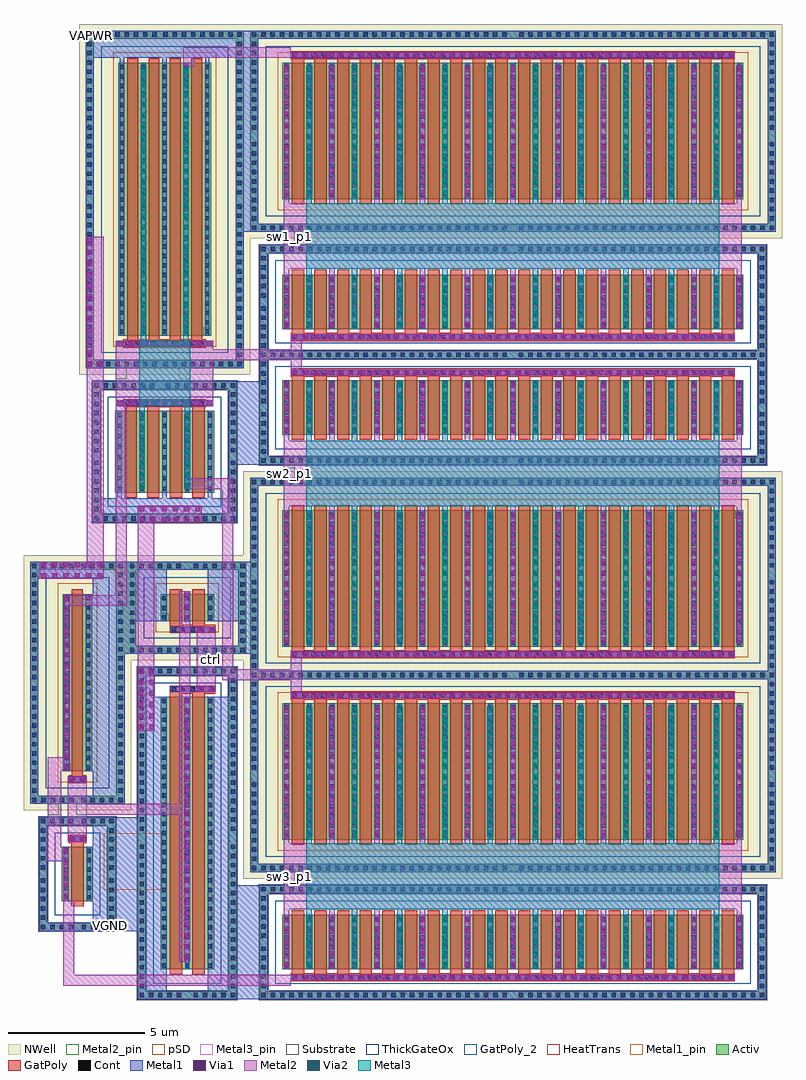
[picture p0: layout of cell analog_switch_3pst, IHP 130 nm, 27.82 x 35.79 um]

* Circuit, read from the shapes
.subckt analog_switch_3pst VAPWR VGND ctrl sw1_p1 sw1_p2 sw2_p1 sw2_p2 sw3_p1 sw3_p2
XM1 VGND lvl_shift_up_3/hv_inverter_6u5_0/in hv_inverter_40u_4/in VGND sg13_hv_nmos w=2u l=0.45u
XM2 transmission_gate_0/nvctrl hv_inverter_40u_4/in VGND VGND sg13_hv_nmos w=3u l=0.45u m=4
XM3 lvl_shift_up_3/hv_inverter_6u5_0/in ctrl VGND VGND sg13_hv_nmos w=10u l=0.45u m=2
XM4 sw3_p2 hv_inverter_40u_4/in sw3_p1 VGND sg13_hv_nmos w=2u l=0.45u m=20
XM5 sw2_p2 hv_inverter_40u_4/in sw2_p1 VGND sg13_hv_nmos w=2u l=0.45u m=20
XM6 sw1_p2 hv_inverter_40u_4/in sw1_p1 VGND sg13_hv_nmos w=2u l=0.45u m=20
XM7 VAPWR lvl_shift_up_3/hv_inverter_6u5_0/in hv_inverter_40u_4/in VAPWR sg13_hv_pmos w=6.5u l=0.4u
XM8 transmission_gate_0/nvctrl hv_inverter_40u_4/in VAPWR VAPWR sg13_hv_pmos w=10u l=0.4u m=4
XM9 lvl_shift_up_3/hv_inverter_6u5_0/in ctrl VAPWR VAPWR sg13_hv_pmos w=1u l=0.45u m=2
XM10 sw3_p2 transmission_gate_0/nvctrl sw3_p1 VAPWR sg13_hv_pmos w=5u l=0.45u m=20
XM11 sw2_p2 transmission_gate_0/nvctrl sw2_p1 VAPWR sg13_hv_pmos w=5u l=0.45u m=20
XM12 sw1_p2 transmission_gate_0/nvctrl sw1_p1 VAPWR sg13_hv_pmos w=5u l=0.45u m=20
.ends

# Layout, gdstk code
from math import pi, radians
import gdstk
lib = gdstk.Library(unit=1e-6, precision=1e-09)
def R(c, l, rs):  # rectangles x0, y0, x1, y1
    for r in rs: c.add(gdstk.rectangle(r[:2], r[2:], *l))
def A(c, l, x, y, w, h, nx, ny, dx, dy):  # array of equal rectangles
    R(c, l, [(x+i*dx, y+j*dy, x+i*dx+w, y+j*dy+h) for i in range(nx) for j in range(ny)])
def P(c, l, *ps):  # polygons
    for p in ps: c.add(gdstk.Polygon(p, *l))
Activ = (1, 0)
GatPoly = (5, 0)
GatPoly_2 = (5, 2)
Cont = (6, 0)
Metal1 = (8, 0)
Metal1_pin = (8, 2)
Metal2 = (10, 0)
Metal2_pin = (10, 2)
pSD = (14, 0)
Via1 = (19, 0)
Via2 = (29, 0)
Metal3 = (30, 0)
Metal3_pin = (30, 2)
NWell = (31, 0)
Substrate = (40, 0)
ThickGateOx = (44, 0)
HeatTrans = (51, 0)

nmoshv_3 = lib.new_cell('nmosHV$3')
A(nmoshv_3, Activ, 0, 0, 0.3, 0.3, 21, 1, 0.83, 0)
R(nmoshv_3, Activ, [(-0.84,-0.79,-0.54,2.79), (17.44,-0.79,17.74,2.79), (0,0,16.9,2), (-0.84,2.79,17.74,3.09)])
P(nmoshv_3, Activ, [(-0.84,-1.09),(-0.84,2.79),(-0.54,2.79),(-0.54,-0.79),(17.44,-0.79),(17.44,2.79),(-0.84,2.79),(-0.84,3.09),(17.74,3.09),(17.74,-1.09)])
A(nmoshv_3, GatPoly, 0.34, -0.18, 0.45, 2.36, 20, 1, 0.83, 0)
R(nmoshv_3, GatPoly_2, [(0.34,-0.18,0.79,2.18)])
A(nmoshv_3, Cont, -0.77, -1.02, 0.16, 0.16, 27, 2, 0.34, 3.88)
A(nmoshv_3, Cont, 8.67, -1.02, 0.16, 0.16, 27, 2, 0.34, 3.88)
A(nmoshv_3, Cont, -0.77, -0.68, 0.16, 0.16, 1, 5, 0, 0.34)
A(nmoshv_3, Cont, 17.51, -0.68, 0.16, 0.16, 1, 5, 0, 0.34)
A(nmoshv_3, Cont, 0.07, 0.07, 0.16, 0.16, 21, 6, 0.83, 0.34)
A(nmoshv_3, Cont, -0.77, 1.16, 0.16, 0.16, 1, 5, 0, 0.34)
A(nmoshv_3, Cont, 17.51, 1.16, 0.16, 0.16, 1, 5, 0, 0.34)
A(nmoshv_3, Metal1, 0.07, 0, 0.16, 2, 21, 1, 0.83, 0)
R(nmoshv_3, Metal1, [(-0.84,-1.09,17.74,-0.79), (-0.84,-0.79,-0.54,2.79), (17.44,-0.79,17.74,2.79), (-0.84,2.79,17.74,3.09)])
R(nmoshv_3, Metal1_pin, [(0.07,0,0.23,2), (0.9,0,1.06,2)])
R(nmoshv_3, pSD, [(-0.87,-0.76,-0.51,2.76), (17.41,-0.76,17.77,2.76), (-0.87,2.76,17.77,3.12)])
P(nmoshv_3, pSD, [(-0.87,-1.12),(-0.87,2.76),(-0.51,2.76),(-0.51,-0.76),(17.41,-0.76),(17.41,2.76),(-0.87,2.76),(-0.87,3.12),(17.77,3.12),(17.77,-1.12)])
R(nmoshv_3, Substrate, [(-0.87,-0.76,-0.51,2.76), (17.41,-0.76,17.77,2.76), (-0.87,2.76,17.77,3.12)])
P(nmoshv_3, Substrate, [(-0.87,-1.12),(-0.87,2.76),(-0.51,2.76),(-0.51,-0.76),(17.41,-0.76),(17.41,2.76),(-0.87,2.76),(-0.87,3.12),(17.77,3.12),(17.77,-1.12)])
R(nmoshv_3, ThickGateOx, [(-0.27,-0.52,17.17,2.52)])
A(nmoshv_3, HeatTrans, 0.34, -0.18, 0.45, 2.36, 20, 1, 0.83, 0)
nmoshv_3.add(gdstk.Label('nmosHV', (0.565,1), layer=63, texttype=0))
nmoshv_3.add(gdstk.Label('sub!', (8.45,-0.94), layer=63, texttype=0))
nmoshv_3.add(gdstk.Label('nmosHV', (0.565,1), layer=51, texttype=0))
nmoshv_3.add(gdstk.Label('nmosHV', (1.395,1), layer=51, texttype=0))
nmoshv_3.add(gdstk.Label('nmosHV', (2.225,1), layer=51, texttype=0))
nmoshv_3.add(gdstk.Label('nmosHV', (3.055,1), layer=51, texttype=0))
nmoshv_3.add(gdstk.Label('nmosHV', (3.885,1), layer=51, texttype=0))
nmoshv_3.add(gdstk.Label('nmosHV', (4.715,1), layer=51, texttype=0))
nmoshv_3.add(gdstk.Label('nmosHV', (5.545,1), layer=51, texttype=0))
nmoshv_3.add(gdstk.Label('nmosHV', (6.375,1), layer=51, texttype=0))
nmoshv_3.add(gdstk.Label('nmosHV', (7.205,1), layer=51, texttype=0))
nmoshv_3.add(gdstk.Label('nmosHV', (8.035,1), layer=51, texttype=0))
nmoshv_3.add(gdstk.Label('nmosHV', (8.865,1), layer=51, texttype=0))
nmoshv_3.add(gdstk.Label('nmosHV', (9.695,1), layer=51, texttype=0))
nmoshv_3.add(gdstk.Label('nmosHV', (10.525,1), layer=51, texttype=0))
nmoshv_3.add(gdstk.Label('nmosHV', (11.355,1), layer=51, texttype=0))
nmoshv_3.add(gdstk.Label('nmosHV', (12.185,1), layer=51, texttype=0))
nmoshv_3.add(gdstk.Label('nmosHV', (13.015,1), layer=51, texttype=0))
nmoshv_3.add(gdstk.Label('nmosHV', (13.845,1), layer=51, texttype=0))
nmoshv_3.add(gdstk.Label('nmosHV', (14.675,1), layer=51, texttype=0))
nmoshv_3.add(gdstk.Label('nmosHV', (15.505,1), layer=51, texttype=0))
nmoshv_3.add(gdstk.Label('nmosHV', (16.335,1), layer=51, texttype=0))

pmoshv_3 = lib.new_cell('pmosHV$3')
A(pmoshv_3, Activ, 0, 0, 0.3, 0.3, 21, 1, 0.83, 0)
R(pmoshv_3, Activ, [(-1.19,-0.89,-0.89,5.89), (17.79,-0.89,18.09,5.89), (0,0,16.9,5), (-1.19,5.89,18.09,6.19)])
P(pmoshv_3, Activ, [(-1.19,-1.19),(-1.19,5.89),(-0.89,5.89),(-0.89,-0.89),(17.79,-0.89),(17.79,5.89),(-1.19,5.89),(-1.19,6.19),(18.09,6.19),(18.09,-1.19)])
A(pmoshv_3, GatPoly, 0.34, -0.18, 0.45, 5.36, 20, 1, 0.83, 0)
R(pmoshv_3, GatPoly_2, [(0.34,-0.18,0.79,5.18)])
A(pmoshv_3, Cont, -1.12, -1.12, 0.16, 0.16, 28, 2, 0.34, 7.08)
A(pmoshv_3, Cont, 8.68, -1.12, 0.16, 0.16, 28, 2, 0.34, 7.08)
A(pmoshv_3, Cont, -1.12, -0.78, 0.16, 0.16, 1, 9, 0, 0.34)
A(pmoshv_3, Cont, 17.86, -0.78, 0.16, 0.16, 1, 9, 0, 0.34)
A(pmoshv_3, Cont, 0.07, 0.07, 0.16, 0.16, 21, 4, 0.83, 0.36)
A(pmoshv_3, Cont, 0.07, 1.515, 0.16, 0.16, 21, 3, 0.83, 0.36)
A(pmoshv_3, Cont, -1.12, 2.56, 0.16, 0.16, 1, 10, 0, 0.34)
A(pmoshv_3, Cont, 17.86, 2.56, 0.16, 0.16, 1, 10, 0, 0.34)
A(pmoshv_3, Cont, 0.07, 2.6, 0.16, 0.16, 21, 3, 0.83, 0.36)
A(pmoshv_3, Cont, 0.07, 3.685, 0.16, 0.16, 21, 3, 0.83, 0.36)
A(pmoshv_3, Cont, 0.07, 4.77, 0.16, 0.16, 21, 1, 0.83, 0)
A(pmoshv_3, Metal1, 0.07, 0, 0.16, 5, 21, 1, 0.83, 0)
R(pmoshv_3, Metal1, [(-1.19,-1.19,18.09,-0.89), (-1.19,-0.89,-0.89,5.89), (17.79,-0.89,18.09,5.89), (-1.19,5.89,18.09,6.19)])
R(pmoshv_3, Metal1_pin, [(0.07,0,0.23,5), (0.9,0,1.06,5)])
R(pmoshv_3, pSD, [(-0.18,-0.4,17.08,5.4)])
R(pmoshv_3, NWell, [(-1.43,-1.43,18.33,6.43), (-0.62,-0.62,17.52,5.62)])
R(pmoshv_3, Substrate, [(16.6,0,16.9,0.3)])
R(pmoshv_3, ThickGateOx, [(-0.62,-0.62,17.52,5.62)])
A(pmoshv_3, HeatTrans, 0.34, -0.18, 0.45, 5.36, 20, 1, 0.83, 0)
pmoshv_3.add(gdstk.Label('pmosHV', (0.565,2.5), layer=63, texttype=0))
pmoshv_3.add(gdstk.Label('well', (8.45,-1.04), layer=63, texttype=0))
pmoshv_3.add(gdstk.Label('pmos', (0.565,2.5), layer=51, texttype=0))
pmoshv_3.add(gdstk.Label('pmos', (1.395,2.5), layer=51, texttype=0))
pmoshv_3.add(gdstk.Label('pmos', (2.225,2.5), layer=51, texttype=0))
pmoshv_3.add(gdstk.Label('pmos', (3.055,2.5), layer=51, texttype=0))
pmoshv_3.add(gdstk.Label('pmos', (3.885,2.5), layer=51, texttype=0))
pmoshv_3.add(gdstk.Label('pmos', (4.715,2.5), layer=51, texttype=0))
pmoshv_3.add(gdstk.Label('pmos', (5.545,2.5), layer=51, texttype=0))
pmoshv_3.add(gdstk.Label('pmos', (6.375,2.5), layer=51, texttype=0))
pmoshv_3.add(gdstk.Label('pmos', (7.205,2.5), layer=51, texttype=0))
pmoshv_3.add(gdstk.Label('pmos', (8.035,2.5), layer=51, texttype=0))
pmoshv_3.add(gdstk.Label('pmos', (8.865,2.5), layer=51, texttype=0))
pmoshv_3.add(gdstk.Label('pmos', (9.695,2.5), layer=51, texttype=0))
pmoshv_3.add(gdstk.Label('pmos', (10.525,2.5), layer=51, texttype=0))
pmoshv_3.add(gdstk.Label('pmos', (11.355,2.5), layer=51, texttype=0))
pmoshv_3.add(gdstk.Label('pmos', (12.185,2.5), layer=51, texttype=0))
pmoshv_3.add(gdstk.Label('pmos', (13.015,2.5), layer=51, texttype=0))
pmoshv_3.add(gdstk.Label('pmos', (13.845,2.5), layer=51, texttype=0))
pmoshv_3.add(gdstk.Label('pmos', (14.675,2.5), layer=51, texttype=0))
pmoshv_3.add(gdstk.Label('pmos', (15.505,2.5), layer=51, texttype=0))
pmoshv_3.add(gdstk.Label('pmos', (16.335,2.5), layer=51, texttype=0))

via_stack_3_1 = lib.new_cell('via_stack$3$1')
R(via_stack_3_1, Metal1, [(-0.965,-0.105,0.965,0.105)])
R(via_stack_3_1, Metal2, [(-0.965,-0.1,0.965,0.1)])
A(via_stack_3_1, Via1, -0.915, -0.095, 0.19, 0.19, 5, 1, 0.41, 0)
A(via_stack_3_1, Via2, -0.915, -0.095, 0.19, 0.19, 5, 1, 0.41, 0)
R(via_stack_3_1, Metal3, [(-0.965,-0.1,0.965,0.1)])

via_stack_2_1 = lib.new_cell('via_stack$2$1')
R(via_stack_2_1, Metal1, [(-0.965,-0.105,0.965,0.105)])
R(via_stack_2_1, Metal2, [(-0.965,-0.1,0.965,0.1)])
A(via_stack_2_1, Via1, -0.915, -0.095, 0.19, 0.19, 5, 1, 0.41, 0)

via_stack_1 = lib.new_cell('via_stack$1')
R(via_stack_1, Metal1, [(-2.4,-0.105,2.4,0.105)])
R(via_stack_1, Metal2, [(-2.4,-0.1,2.4,0.1)])
A(via_stack_1, Via1, -2.35, -0.095, 0.19, 0.19, 12, 1, 0.41, 0)
A(via_stack_1, Via2, -2.35, -0.095, 0.19, 0.19, 12, 1, 0.41, 0)
R(via_stack_1, Metal3, [(-2.4,-0.1,2.4,0.1)])

via_stack_12 = lib.new_cell('via_stack$12')
R(via_stack_12, Metal1, [(-2.4,-0.105,2.4,0.105)])
R(via_stack_12, Metal2, [(-2.4,-0.1,2.4,0.1)])
A(via_stack_12, Via1, -2.35, -0.095, 0.19, 0.19, 12, 1, 0.41, 0)

via_stack_8 = lib.new_cell('via_stack$8')
R(via_stack_8, GatPoly, [(-0.15,-8.14,0.15,8.14)])
A(via_stack_8, Cont, -0.08, -8.07, 0.16, 0.16, 1, 48, 0, 0.34)
R(via_stack_8, Metal1, [(-0.08,-8.12,0.08,8.12)])

via_stack_7_1 = lib.new_cell('via_stack$7$1')
R(via_stack_7_1, Metal1, [(-0.105,-8.14,0.105,8.14)])
R(via_stack_7_1, Metal2, [(-0.1,-8.14,0.1,8.14)])
A(via_stack_7_1, Via1, -0.095, -8.09, 0.19, 0.19, 1, 40, 0, 0.41)

transmission_gate = lib.new_cell('transmission_gate')
R(transmission_gate, Metal1_pin, [(0.59,0.03,0.89,0.33), (0.24,11.77,0.54,12.07)])
A(transmission_gate, Metal2, 1.48, 3.085, 0.2, 2.895, 11, 1, 1.66, 0)
R(transmission_gate, Metal2, [(1.48,3.33,18.28,5.74)])
R(transmission_gate, Metal2_pin, [(1.74,0.73,1.94,0.93), (1.48,4.33,1.88,4.73), (1.74,11.065,1.94,11.265)])
A(transmission_gate, Metal3, 2.31, 3.085, 0.2, 2.895, 10, 1, 1.66, 0)
R(transmission_gate, Metal3, [(2.31,3.33,17.45,5.74)])
R(transmission_gate, Metal3_pin, [(2.31,4.33,2.71,4.73)])
transmission_gate.add(gdstk.Reference(nmoshv_3, (1.43,1.12)))
transmission_gate.add(gdstk.Reference(pmoshv_3, (1.43,5.88)))
transmission_gate.add(gdstk.Reference(via_stack_3_1, (2.41,2.12), rotation=pi/2))
transmission_gate.add(gdstk.Reference(via_stack_2_1, (1.58,2.12), rotation=pi/2))
transmission_gate.add(gdstk.Reference(via_stack_1, (2.41,8.38), rotation=pi/2))
transmission_gate.add(gdstk.Reference(via_stack_12, (1.58,8.38), rotation=pi/2))
transmission_gate.add(gdstk.Reference(via_stack_3_1, (4.07,2.12), rotation=pi/2))
transmission_gate.add(gdstk.Reference(via_stack_3_1, (5.73,2.12), rotation=pi/2))
transmission_gate.add(gdstk.Reference(via_stack_3_1, (7.39,2.12), rotation=pi/2))
transmission_gate.add(gdstk.Reference(via_stack_3_1, (9.05,2.12), rotation=pi/2))
transmission_gate.add(gdstk.Reference(via_stack_3_1, (10.71,2.12), rotation=pi/2))
transmission_gate.add(gdstk.Reference(via_stack_3_1, (12.37,2.12), rotation=pi/2))
transmission_gate.add(gdstk.Reference(via_stack_3_1, (14.03,2.12), rotation=pi/2))
transmission_gate.add(gdstk.Reference(via_stack_3_1, (15.69,2.12), rotation=pi/2))
transmission_gate.add(gdstk.Reference(via_stack_3_1, (17.35,2.12), rotation=pi/2))
transmission_gate.add(gdstk.Reference(via_stack_8, (9.88,0.83), rotation=pi/2))
transmission_gate.add(gdstk.Reference(via_stack_2_1, (3.24,2.12), rotation=pi/2))
transmission_gate.add(gdstk.Reference(via_stack_2_1, (4.9,2.12), rotation=pi/2))
transmission_gate.add(gdstk.Reference(via_stack_2_1, (6.56,2.12), rotation=pi/2))
transmission_gate.add(gdstk.Reference(via_stack_2_1, (8.22,2.12), rotation=pi/2))
transmission_gate.add(gdstk.Reference(via_stack_2_1, (9.88,2.12), rotation=pi/2))
transmission_gate.add(gdstk.Reference(via_stack_2_1, (11.54,2.12), rotation=pi/2))
transmission_gate.add(gdstk.Reference(via_stack_2_1, (13.2,2.12), rotation=pi/2))
transmission_gate.add(gdstk.Reference(via_stack_2_1, (14.86,2.12), rotation=pi/2))
transmission_gate.add(gdstk.Reference(via_stack_2_1, (16.52,2.12), rotation=pi/2))
transmission_gate.add(gdstk.Reference(via_stack_2_1, (18.18,2.12), rotation=pi/2))
transmission_gate.add(gdstk.Reference(via_stack_7_1, (9.88,0.83), rotation=pi/2))
transmission_gate.add(gdstk.Reference(via_stack_8, (9.88,11.165), rotation=pi/2))
transmission_gate.add(gdstk.Reference(via_stack_7_1, (9.88,11.165), rotation=pi/2))
transmission_gate.add(gdstk.Reference(via_stack_1, (4.07,8.38), rotation=pi/2))
transmission_gate.add(gdstk.Reference(via_stack_1, (5.73,8.38), rotation=pi/2))
transmission_gate.add(gdstk.Reference(via_stack_1, (7.39,8.38), rotation=pi/2))
transmission_gate.add(gdstk.Reference(via_stack_1, (9.05,8.38), rotation=pi/2))
transmission_gate.add(gdstk.Reference(via_stack_1, (10.71,8.38), rotation=pi/2))
transmission_gate.add(gdstk.Reference(via_stack_1, (12.37,8.38), rotation=pi/2))
transmission_gate.add(gdstk.Reference(via_stack_1, (14.03,8.38), rotation=pi/2))
transmission_gate.add(gdstk.Reference(via_stack_1, (15.69,8.38), rotation=pi/2))
transmission_gate.add(gdstk.Reference(via_stack_1, (17.35,8.38), rotation=pi/2))
transmission_gate.add(gdstk.Reference(via_stack_12, (3.24,8.38), rotation=pi/2))
transmission_gate.add(gdstk.Reference(via_stack_12, (4.9,8.38), rotation=pi/2))
transmission_gate.add(gdstk.Reference(via_stack_12, (6.56,8.38), rotation=pi/2))
transmission_gate.add(gdstk.Reference(via_stack_12, (8.22,8.38), rotation=pi/2))
transmission_gate.add(gdstk.Reference(via_stack_12, (9.88,8.38), rotation=pi/2))
transmission_gate.add(gdstk.Reference(via_stack_12, (11.54,8.38), rotation=pi/2))
transmission_gate.add(gdstk.Reference(via_stack_12, (13.2,8.38), rotation=pi/2))
transmission_gate.add(gdstk.Reference(via_stack_12, (14.86,8.38), rotation=pi/2))
transmission_gate.add(gdstk.Reference(via_stack_12, (16.52,8.38), rotation=pi/2))
transmission_gate.add(gdstk.Reference(via_stack_12, (18.18,8.38), rotation=pi/2))
transmission_gate.add(gdstk.Label('vctrl', (1.84,0.83), layer=10, texttype=25))
transmission_gate.add(gdstk.Label('nvctrl', (1.84,11.165), layer=10, texttype=25))
transmission_gate.add(gdstk.Label('vin', (1.68,4.53), layer=10, texttype=25))
transmission_gate.add(gdstk.Label('VDD', (0.39,11.92), layer=8, texttype=25))
transmission_gate.add(gdstk.Label('VSS', (0.74,0.18), layer=8, texttype=25))
transmission_gate.add(gdstk.Label('vout', (2.51,4.53), layer=30, texttype=25))

pmoshv_1 = lib.new_cell('pmosHV$1')
R(pmoshv_1, Activ, [(-1.19,-0.89,-0.89,7.39), (1.97,-0.89,2.27,7.39), (0,0,0.3,0.3), (0,0,1.08,6.5), (0.78,0,1.08,0.3), (-1.19,7.39,2.27,7.69)])
P(pmoshv_1, Activ, [(-1.19,-1.19),(-1.19,7.39),(-0.89,7.39),(-0.89,-0.89),(1.97,-0.89),(1.97,7.39),(-1.19,7.39),(-1.19,7.69),(2.27,7.69),(2.27,-1.19)])
R(pmoshv_1, GatPoly, [(0.34,-0.18,0.74,6.68)])
R(pmoshv_1, GatPoly_2, [(0.34,-0.18,0.74,6.68)])
A(pmoshv_1, Cont, -1.12, -1.12, 0.16, 0.16, 5, 2, 0.34, 8.58)
A(pmoshv_1, Cont, 0.68, -1.12, 0.16, 0.16, 5, 2, 0.34, 8.58)
A(pmoshv_1, Cont, -1.12, -0.78, 0.16, 0.16, 1, 12, 0, 0.34)
A(pmoshv_1, Cont, 2.04, -0.78, 0.16, 0.16, 1, 12, 0, 0.34)
A(pmoshv_1, Cont, 0.07, 0.41, 0.16, 0.16, 1, 9, 0, 0.345)
A(pmoshv_1, Cont, 0.85, 0.41, 0.16, 0.16, 1, 9, 0, 0.345)
A(pmoshv_1, Cont, -1.12, 3.38, 0.16, 0.16, 1, 12, 0, 0.34)
A(pmoshv_1, Cont, 2.04, 3.38, 0.16, 0.16, 1, 12, 0, 0.34)
A(pmoshv_1, Cont, 0.07, 3.51, 0.16, 0.16, 1, 9, 0, 0.345)
A(pmoshv_1, Cont, 0.85, 3.51, 0.16, 0.16, 1, 9, 0, 0.345)
R(pmoshv_1, Cont, [(0.07,0.07,0.23,0.23), (0.85,0.07,1.01,0.23)])
R(pmoshv_1, Metal1, [(-1.19,-1.19,2.27,-0.89), (-1.19,-0.89,-0.89,7.39), (1.97,-0.89,2.27,7.39), (0.07,0,0.23,6.5), (0.85,0,1.01,6.5), (-1.19,7.39,2.27,7.69)])
R(pmoshv_1, Metal1_pin, [(0.07,0,0.23,6.5), (0.85,0,1.01,6.5)])
R(pmoshv_1, pSD, [(-0.18,-0.4,1.26,6.9)])
R(pmoshv_1, NWell, [(-1.43,-1.43,2.51,7.93), (-0.62,-0.62,1.7,7.12)])
R(pmoshv_1, Substrate, [(0.78,0,1.08,0.3)])
R(pmoshv_1, ThickGateOx, [(-0.62,-0.62,1.7,7.12)])
R(pmoshv_1, HeatTrans, [(0.34,-0.18,0.74,6.68)])
pmoshv_1.add(gdstk.Label('pmosHV', (0.54,3.25), layer=63, texttype=0))
pmoshv_1.add(gdstk.Label('well', (0.54,-1.04), layer=63, texttype=0))
pmoshv_1.add(gdstk.Label('pmos', (0.54,3.25), layer=51, texttype=0))

nmoshv_1 = lib.new_cell('nmosHV$1')
R(nmoshv_1, Activ, [(-0.84,-0.79,-0.54,2.79), (1.67,-0.79,1.97,2.79), (0,0,0.3,0.3), (0,0,1.13,2), (0.83,0,1.13,0.3), (-0.84,2.79,1.97,3.09)])
P(nmoshv_1, Activ, [(-0.84,-1.09),(-0.84,2.79),(-0.54,2.79),(-0.54,-0.79),(1.67,-0.79),(1.67,2.79),(-0.84,2.79),(-0.84,3.09),(1.97,3.09),(1.97,-1.09)])
R(nmoshv_1, GatPoly, [(0.34,-0.18,0.79,2.18)])
R(nmoshv_1, GatPoly_2, [(0.34,-0.18,0.79,2.18)])
A(nmoshv_1, Cont, -0.77, -1.02, 0.16, 0.16, 4, 2, 0.34, 3.88)
A(nmoshv_1, Cont, 0.72, -1.02, 0.16, 0.16, 4, 2, 0.34, 3.88)
A(nmoshv_1, Cont, -0.77, -0.68, 0.16, 0.16, 1, 5, 0, 0.34)
A(nmoshv_1, Cont, 1.74, -0.68, 0.16, 0.16, 1, 5, 0, 0.34)
A(nmoshv_1, Cont, 0.07, 0.07, 0.16, 0.16, 1, 6, 0, 0.34)
A(nmoshv_1, Cont, 0.9, 0.07, 0.16, 0.16, 1, 6, 0, 0.34)
A(nmoshv_1, Cont, -0.77, 1.16, 0.16, 0.16, 1, 5, 0, 0.34)
A(nmoshv_1, Cont, 1.74, 1.16, 0.16, 0.16, 1, 5, 0, 0.34)
R(nmoshv_1, Metal1, [(-0.84,-1.09,1.97,-0.79), (-0.84,-0.79,-0.54,2.79), (1.67,-0.79,1.97,2.79), (0.07,0,0.23,2), (0.9,0,1.06,2), (-0.84,2.79,1.97,3.09)])
R(nmoshv_1, Metal1_pin, [(0.07,0,0.23,2), (0.9,0,1.06,2)])
R(nmoshv_1, pSD, [(-0.87,-0.76,-0.51,2.76), (1.64,-0.76,2,2.76), (-0.87,2.76,2,3.12)])
P(nmoshv_1, pSD, [(-0.87,-1.12),(-0.87,2.76),(-0.51,2.76),(-0.51,-0.76),(1.64,-0.76),(1.64,2.76),(-0.87,2.76),(-0.87,3.12),(2,3.12),(2,-1.12)])
R(nmoshv_1, Substrate, [(-0.87,-0.76,-0.51,2.76), (1.64,-0.76,2,2.76), (-0.87,2.76,2,3.12)])
P(nmoshv_1, Substrate, [(-0.87,-1.12),(-0.87,2.76),(-0.51,2.76),(-0.51,-0.76),(1.64,-0.76),(1.64,2.76),(-0.87,2.76),(-0.87,3.12),(2,3.12),(2,-1.12)])
R(nmoshv_1, ThickGateOx, [(-0.27,-0.52,1.4,2.52)])
R(nmoshv_1, HeatTrans, [(0.34,-0.18,0.79,2.18)])
nmoshv_1.add(gdstk.Label('nmosHV', (0.565,1), layer=63, texttype=0))
nmoshv_1.add(gdstk.Label('sub!', (0.565,-0.94), layer=63, texttype=0))
nmoshv_1.add(gdstk.Label('nmosHV', (0.565,1), layer=51, texttype=0))

via_stack_10 = lib.new_cell('via_stack$10')
R(via_stack_10, GatPoly, [(-0.15,-0.32,0.15,0.32)])
R(via_stack_10, Cont, [(-0.08,-0.25,0.08,-0.09), (-0.08,0.09,0.08,0.25)])
R(via_stack_10, Metal1, [(-0.08,-0.3,0.08,0.3)])

via_stack_4 = lib.new_cell('via_stack$4')
R(via_stack_4, Metal1, [(-0.105,-0.35,0.105,0.35)])
R(via_stack_4, Metal2, [(-0.1,-0.35,0.1,0.35)])
R(via_stack_4, Via1, [(-0.095,-0.3,0.095,-0.11), (-0.095,0.11,0.095,0.3)])

via_stack_3 = lib.new_cell('via_stack$3')
R(via_stack_3, Metal1, [(-0.105,-0.965,0.105,0.965)])
R(via_stack_3, Metal2, [(-0.1,-0.965,0.1,0.965)])
A(via_stack_3, Via1, -0.095, -0.915, 0.19, 0.19, 1, 5, 0, 0.41)

via_stack_13 = lib.new_cell('via_stack$13')
R(via_stack_13, Metal1, [(-0.105,-3.22,0.105,3.22)])
R(via_stack_13, Metal2, [(-0.1,-3.22,0.1,3.22)])
A(via_stack_13, Via1, -0.095, -3.17, 0.19, 0.19, 1, 16, 0, 0.41)

hv_inverter_6u5 = lib.new_cell('hv_inverter_6u5')
R(hv_inverter_6u5, Metal1, [(-1.105,-4.17,-0.57,-0.59), (-0.57,-3.38,-0.495,-1.38), (-1.43,0.49,-0.57,8.77), (-0.57,1.38,-0.47,7.88)])
R(hv_inverter_6u5, Metal1_pin, [(-1.405,-4.47,-1.005,-4.07), (-1.73,8.67,-1.33,9.07)])
R(hv_inverter_6u5, Metal2, [(-0.35,-0.995,0.35,0.995)])
R(hv_inverter_6u5, Metal2_pin, [(-0.35,-0.2,0.05,0.2), (0.69,-0.2,1.09,0.2)])
hv_inverter_6u5.add(gdstk.FlexPath([(0.515,-1.665),(0.84,-1.665),(0.84,1.66),(0.49,1.66)], 0.5, ends="flush", simple_path=True, layer=10, datatype=0))  # Metal2
hv_inverter_6u5.add(gdstk.Reference(pmoshv_1, (-0.54,1.38)))
hv_inverter_6u5.add(gdstk.Reference(nmoshv_1, (-0.565,-3.38)))
hv_inverter_6u5.add(gdstk.Reference(via_stack_10, (0,-1.095), rotation=pi/2))
hv_inverter_6u5.add(gdstk.Reference(via_stack_4, (0,-1.095), rotation=pi/2))
hv_inverter_6u5.add(gdstk.Reference(via_stack_10, (0,1.095), rotation=pi/2))
hv_inverter_6u5.add(gdstk.Reference(via_stack_4, (0,1.095), rotation=pi/2))
hv_inverter_6u5.add(gdstk.Reference(via_stack_3, (0.415,-2.38)))
hv_inverter_6u5.add(gdstk.Reference(via_stack_13, (0.39,4.63)))
hv_inverter_6u5.add(gdstk.Label('in', (-0.15,0), layer=10, texttype=25))
hv_inverter_6u5.add(gdstk.Label('out', (0.89,0), layer=10, texttype=25))
hv_inverter_6u5.add(gdstk.Label('VSS', (-1.205,-4.27), layer=8, texttype=25))
hv_inverter_6u5.add(gdstk.Label('VDD', (-1.53,8.87), layer=8, texttype=25))

nmoshv_2 = lib.new_cell('nmosHV$2')
A(nmoshv_2, Activ, 0, 0, 0.3, 0.3, 3, 1, 0.83, 0)
R(nmoshv_2, Activ, [(-0.84,-0.79,-0.54,10.79), (2.5,-0.79,2.8,10.79), (0,0,1.96,10), (-0.84,10.79,2.8,11.09)])
P(nmoshv_2, Activ, [(-0.84,-1.09),(-0.84,10.79),(-0.54,10.79),(-0.54,-0.79),(2.5,-0.79),(2.5,10.79),(-0.84,10.79),(-0.84,11.09),(2.8,11.09),(2.8,-1.09)])
R(nmoshv_2, GatPoly, [(0.34,-0.18,0.79,10.18), (1.17,-0.18,1.62,10.18)])
R(nmoshv_2, GatPoly_2, [(0.34,-0.18,0.79,10.18)])
A(nmoshv_2, Cont, -0.77, -1.02, 0.16, 0.16, 5, 2, 0.34, 11.88)
A(nmoshv_2, Cont, 1.21, -1.02, 0.16, 0.16, 5, 2, 0.34, 11.88)
A(nmoshv_2, Cont, -0.77, -0.68, 0.16, 0.16, 1, 16, 0, 0.34)
A(nmoshv_2, Cont, 2.57, -0.68, 0.16, 0.16, 1, 16, 0, 0.34)
A(nmoshv_2, Cont, 0.07, 0.07, 0.16, 0.16, 3, 4, 0.83, 0.345)
A(nmoshv_2, Cont, 0.07, 1.455, 0.16, 0.16, 3, 3, 0.83, 0.345)
A(nmoshv_2, Cont, 0.07, 2.495, 0.16, 0.16, 3, 4, 0.83, 0.345)
A(nmoshv_2, Cont, 0.07, 3.88, 0.16, 0.16, 3, 3, 0.83, 0.345)
A(nmoshv_2, Cont, 0.07, 4.92, 0.16, 0.16, 3, 4, 0.83, 0.345)
A(nmoshv_2, Cont, -0.77, 5.08, 0.16, 0.16, 1, 17, 0, 0.34)
A(nmoshv_2, Cont, 2.57, 5.08, 0.16, 0.16, 1, 17, 0, 0.34)
A(nmoshv_2, Cont, 0.07, 6.305, 0.16, 0.16, 3, 3, 0.83, 0.345)
A(nmoshv_2, Cont, 0.07, 7.345, 0.16, 0.16, 3, 4, 0.83, 0.345)
A(nmoshv_2, Cont, 0.07, 8.73, 0.16, 0.16, 3, 3, 0.83, 0.345)
A(nmoshv_2, Cont, 0.07, 9.77, 0.16, 0.16, 3, 1, 0.83, 0)
A(nmoshv_2, Metal1, 0.07, 0, 0.16, 10, 3, 1, 0.83, 0)
R(nmoshv_2, Metal1, [(-0.84,-1.09,2.8,-0.79), (-0.84,-0.79,-0.54,10.79), (2.5,-0.79,2.8,10.79), (-0.84,10.79,2.8,11.09)])
R(nmoshv_2, Metal1_pin, [(0.07,0,0.23,10), (0.9,0,1.06,10)])
R(nmoshv_2, pSD, [(-0.87,-0.76,-0.51,10.76), (2.47,-0.76,2.83,10.76), (-0.87,10.76,2.83,11.12)])
P(nmoshv_2, pSD, [(-0.87,-1.12),(-0.87,10.76),(-0.51,10.76),(-0.51,-0.76),(2.47,-0.76),(2.47,10.76),(-0.87,10.76),(-0.87,11.12),(2.83,11.12),(2.83,-1.12)])
R(nmoshv_2, Substrate, [(-0.87,-0.76,-0.51,10.76), (2.47,-0.76,2.83,10.76), (-0.87,10.76,2.83,11.12)])
P(nmoshv_2, Substrate, [(-0.87,-1.12),(-0.87,10.76),(-0.51,10.76),(-0.51,-0.76),(2.47,-0.76),(2.47,10.76),(-0.87,10.76),(-0.87,11.12),(2.83,11.12),(2.83,-1.12)])
R(nmoshv_2, ThickGateOx, [(-0.27,-0.52,2.23,10.52)])
R(nmoshv_2, HeatTrans, [(0.34,-0.18,0.79,10.18), (1.17,-0.18,1.62,10.18)])
nmoshv_2.add(gdstk.Label('nmosHV', (0.565,5), layer=63, texttype=0))
nmoshv_2.add(gdstk.Label('sub!', (0.98,-0.94), layer=63, texttype=0))
nmoshv_2.add(gdstk.Label('nmosHV', (0.565,5), layer=51, texttype=0))
nmoshv_2.add(gdstk.Label('nmosHV', (1.395,5), layer=51, texttype=0))

pmoshv_2 = lib.new_cell('pmosHV$2')
A(pmoshv_2, Activ, 0, 0, 0.3, 0.3, 3, 1, 0.83, 0)
R(pmoshv_2, Activ, [(-1.19,-0.89,-0.89,1.89), (2.85,-0.89,3.15,1.89), (0,0,1.96,1), (-1.19,1.89,3.15,2.19)])
P(pmoshv_2, Activ, [(-1.19,-1.19),(-1.19,1.89),(-0.89,1.89),(-0.89,-0.89),(2.85,-0.89),(2.85,1.89),(-1.19,1.89),(-1.19,2.19),(3.15,2.19),(3.15,-1.19)])
R(pmoshv_2, GatPoly, [(0.34,-0.18,0.79,1.18), (1.17,-0.18,1.62,1.18)])
R(pmoshv_2, GatPoly_2, [(0.34,-0.18,0.79,1.18)])
A(pmoshv_2, Cont, -1.12, -1.12, 0.16, 0.16, 6, 2, 0.34, 3.08)
A(pmoshv_2, Cont, 1.22, -1.12, 0.16, 0.16, 6, 2, 0.34, 3.08)
A(pmoshv_2, Cont, -1.12, -0.78, 0.16, 0.16, 1, 4, 0, 0.34)
A(pmoshv_2, Cont, 2.92, -0.78, 0.16, 0.16, 1, 4, 0, 0.34)
A(pmoshv_2, Cont, 0.07, 0.07, 0.16, 0.16, 3, 3, 0.83, 0.35)
A(pmoshv_2, Cont, -1.12, 0.6, 0.16, 0.16, 1, 4, 0, 0.34)
A(pmoshv_2, Cont, 2.92, 0.6, 0.16, 0.16, 1, 4, 0, 0.34)
A(pmoshv_2, Metal1, 0.07, 0, 0.16, 1, 3, 1, 0.83, 0)
R(pmoshv_2, Metal1, [(-1.19,-1.19,3.15,-0.89), (-1.19,-0.89,-0.89,1.89), (2.85,-0.89,3.15,1.89), (-1.19,1.89,3.15,2.19)])
R(pmoshv_2, Metal1_pin, [(0.07,0,0.23,1), (0.9,0,1.06,1)])
R(pmoshv_2, pSD, [(-0.18,-0.4,2.14,1.4)])
R(pmoshv_2, NWell, [(-1.43,-1.43,3.39,2.43), (-0.62,-0.62,2.58,1.62)])
R(pmoshv_2, Substrate, [(1.66,0,1.96,0.3)])
R(pmoshv_2, ThickGateOx, [(-0.62,-0.62,2.58,1.62)])
R(pmoshv_2, HeatTrans, [(0.34,-0.18,0.79,1.18), (1.17,-0.18,1.62,1.18)])
pmoshv_2.add(gdstk.Label('pmosHV', (0.565,0.5), layer=63, texttype=0))
pmoshv_2.add(gdstk.Label('well', (0.98,-1.04), layer=63, texttype=0))
pmoshv_2.add(gdstk.Label('pmos', (0.565,0.5), layer=51, texttype=0))
pmoshv_2.add(gdstk.Label('pmos', (1.395,0.5), layer=51, texttype=0))

via_stack_5 = lib.new_cell('via_stack$5')
R(via_stack_5, Metal1, [(-0.555,-0.105,0.555,0.105)])
R(via_stack_5, Metal2, [(-0.555,-0.1,0.555,0.1)])
A(via_stack_5, Via1, -0.505, -0.095, 0.19, 0.19, 3, 1, 0.41, 0)

via_stack_6_1 = lib.new_cell('via_stack$6$1')
R(via_stack_6_1, Metal1, [(-4.86,-0.105,4.86,0.105)])
R(via_stack_6_1, Metal2, [(-4.86,-0.1,4.86,0.1)])
A(via_stack_6_1, Via1, -4.81, -0.095, 0.19, 0.19, 24, 1, 0.41, 0)

via_stack_7 = lib.new_cell('via_stack$7')
R(via_stack_7, GatPoly, [(-0.15,-0.83,0.15,0.83)])
A(via_stack_7, Cont, -0.08, -0.76, 0.16, 0.16, 1, 5, 0, 0.34)
R(via_stack_7, Metal1, [(-0.08,-0.81,0.08,0.81)])

via_stack_11 = lib.new_cell('via_stack$11')
R(via_stack_11, Metal1, [(-0.105,-0.35,0.105,0.35)])
R(via_stack_11, Metal2, [(-0.1,-0.35,0.1,0.35)])
R(via_stack_11, Via1, [(-0.095,-0.3,0.095,-0.11), (-0.095,0.11,0.095,0.3)])

lvl_shift_up = lib.new_cell('lvl_shift_up')
R(lvl_shift_up, Activ, [(-1.86,5.69,-1.73,9.07)])
R(lvl_shift_up, Metal1, [(-5.55,-6.67,-4.78,4.12), (-3.28,-6.67,-2.51,4.12), (-2.21,-4.47,-1.405,-0.29), (-4.37,4.3,-3.41,4.51), (-1.86,5.69,-1.73,9.07), (-4.37,6.48,-3.41,6.69), (-5.9,6.88,-4.78,8.77), (-3.28,6.88,-2.16,8.77)])
R(lvl_shift_up, Metal1_pin, [(-3.12,-2.96,-0.97,-0.88), (-3.12,-1.5,-2.5,-0.88), (-3.12,-1.5,-2.5,-0.88), (-1.73,8.67,-1.33,9.07)])
R(lvl_shift_up, Metal2, [(-5.07,4.505,-4.37,6.485)])
R(lvl_shift_up, Metal2_pin, [(0.69,-0.2,1.09,0.2), (-5.07,5.295,-4.67,5.695)])
lvl_shift_up.add(gdstk.FlexPath([(-3.93,7.985),(-3.93,-5.6)], 0.4, ends="flush", simple_path=True, layer=10, datatype=0))  # Metal2
lvl_shift_up.add(gdstk.FlexPath([(-0.35,0),(-3.93,0)], 0.4, ends="flush", simple_path=True, layer=10, datatype=0))  # Metal2
lvl_shift_up.add(gdstk.Reference(hv_inverter_6u5, (0,0)))
lvl_shift_up.add(gdstk.Reference(nmoshv_2, (-5.01,-5.88)))
lvl_shift_up.add(gdstk.Reference(pmoshv_2, (-5.01,6.88)))
lvl_shift_up.add(gdstk.Reference(via_stack_5, (-4.03,7.43), rotation=pi/2))
lvl_shift_up.add(gdstk.Reference(via_stack_6_1, (-4.03,-0.74), rotation=pi/2))
lvl_shift_up.add(gdstk.Reference(via_stack_7, (-4.22,6.61), rotation=pi/2))
lvl_shift_up.add(gdstk.Reference(via_stack_11, (-4.72,6.585), rotation=pi/2))
lvl_shift_up.add(gdstk.Reference(via_stack_7, (-4.22,4.38), rotation=3*pi/2, x_reflection=True))
lvl_shift_up.add(gdstk.Reference(via_stack_11, (-4.72,4.405), rotation=3*pi/2, x_reflection=True))
lvl_shift_up.add(gdstk.Label('out', (0.89,0), layer=10, texttype=25))
lvl_shift_up.add(gdstk.Label('in', (-4.87,5.495), layer=10, texttype=25))
lvl_shift_up.add(gdstk.Label('VSS', (-1.808,-2.38), layer=8, texttype=25))
lvl_shift_up.add(gdstk.Label('VDD', (-1.53,8.87), layer=8, texttype=25))

via_stack_2 = lib.new_cell('via_stack$2')
R(via_stack_2, Metal1, [(-0.105,-1.375,0.105,1.375)])
R(via_stack_2, Metal2, [(-0.1,-1.375,0.1,1.375)])
A(via_stack_2, Via1, -0.095, -1.325, 0.19, 0.19, 1, 7, 0, 0.41)
A(via_stack_2, Via2, -0.095, -1.325, 0.19, 0.19, 1, 7, 0, 0.41)
R(via_stack_2, Metal3, [(-0.1,-1.375,0.1,1.375)])

nmoshv = lib.new_cell('nmosHV')
A(nmoshv, Activ, 0, 0, 0.3, 0.3, 5, 1, 0.83, 0)
R(nmoshv, Activ, [(-0.84,-0.79,-0.54,3.79), (4.16,-0.79,4.46,3.79), (0,0,3.62,3), (-0.84,3.79,4.46,4.09)])
P(nmoshv, Activ, [(-0.84,-1.09),(-0.84,3.79),(-0.54,3.79),(-0.54,-0.79),(4.16,-0.79),(4.16,3.79),(-0.84,3.79),(-0.84,4.09),(4.46,4.09),(4.46,-1.09)])
A(nmoshv, GatPoly, 0.34, -0.18, 0.45, 3.36, 4, 1, 0.83, 0)
R(nmoshv, GatPoly_2, [(0.34,-0.18,0.79,3.18)])
A(nmoshv, Cont, -0.77, -1.02, 0.16, 0.16, 7, 2, 0.34, 4.88)
A(nmoshv, Cont, 1.85, -1.02, 0.16, 0.16, 8, 2, 0.34, 4.88)
A(nmoshv, Cont, -0.77, -0.68, 0.16, 0.16, 1, 6, 0, 0.34)
A(nmoshv, Cont, 4.23, -0.68, 0.16, 0.16, 1, 6, 0, 0.34)
A(nmoshv, Cont, 0.07, 0.07, 0.16, 0.16, 5, 7, 0.83, 0.385)
A(nmoshv, Cont, -0.77, 1.48, 0.16, 0.16, 1, 7, 0, 0.34)
A(nmoshv, Cont, 4.23, 1.48, 0.16, 0.16, 1, 7, 0, 0.34)
A(nmoshv, Cont, 0.07, 2.77, 0.16, 0.16, 5, 1, 0.83, 0)
A(nmoshv, Metal1, 0.07, 0, 0.16, 3, 5, 1, 0.83, 0)
R(nmoshv, Metal1, [(-0.84,-1.09,4.46,-0.79), (-0.84,-0.79,-0.54,3.79), (4.16,-0.79,4.46,3.79), (-0.84,3.79,4.46,4.09)])
R(nmoshv, Metal1_pin, [(0.07,0,0.23,3), (0.9,0,1.06,3)])
R(nmoshv, pSD, [(-0.87,-0.76,-0.51,3.76), (4.13,-0.76,4.49,3.76), (-0.87,3.76,4.49,4.12)])
P(nmoshv, pSD, [(-0.87,-1.12),(-0.87,3.76),(-0.51,3.76),(-0.51,-0.76),(4.13,-0.76),(4.13,3.76),(-0.87,3.76),(-0.87,4.12),(4.49,4.12),(4.49,-1.12)])
R(nmoshv, Substrate, [(-0.87,-0.76,-0.51,3.76), (4.13,-0.76,4.49,3.76), (-0.87,3.76,4.49,4.12)])
P(nmoshv, Substrate, [(-0.87,-1.12),(-0.87,3.76),(-0.51,3.76),(-0.51,-0.76),(4.13,-0.76),(4.13,3.76),(-0.87,3.76),(-0.87,4.12),(4.49,4.12),(4.49,-1.12)])
R(nmoshv, ThickGateOx, [(-0.27,-0.52,3.89,3.52)])
A(nmoshv, HeatTrans, 0.34, -0.18, 0.45, 3.36, 4, 1, 0.83, 0)
nmoshv.add(gdstk.Label('nmosHV', (0.565,1.5), layer=63, texttype=0))
nmoshv.add(gdstk.Label('sub!', (1.81,-0.94), layer=63, texttype=0))
nmoshv.add(gdstk.Label('nmosHV', (0.565,1.5), layer=51, texttype=0))
nmoshv.add(gdstk.Label('nmosHV', (1.395,1.5), layer=51, texttype=0))
nmoshv.add(gdstk.Label('nmosHV', (2.225,1.5), layer=51, texttype=0))
nmoshv.add(gdstk.Label('nmosHV', (3.055,1.5), layer=51, texttype=0))

via_stack_6 = lib.new_cell('via_stack$6')
R(via_stack_6, Metal1, [(-0.105,-4.86,0.105,4.86)])
R(via_stack_6, Metal2, [(-0.1,-4.86,0.1,4.86)])
A(via_stack_6, Via1, -0.095, -4.81, 0.19, 0.19, 1, 24, 0, 0.41)
A(via_stack_6, Via2, -0.095, -4.81, 0.19, 0.19, 1, 24, 0, 0.41)
R(via_stack_6, Metal3, [(-0.1,-4.86,0.1,4.86)])

via_stack = lib.new_cell('via_stack')
R(via_stack, GatPoly, [(-0.15,-1.51,0.15,1.51)])
A(via_stack, Cont, -0.08, -1.44, 0.16, 0.16, 1, 9, 0, 0.34)
R(via_stack, Metal1, [(-0.105,-1.785,0.105,1.785)])
R(via_stack, Metal2, [(-0.1,-1.785,0.1,1.785)])
A(via_stack, Via1, -0.095, -1.735, 0.19, 0.19, 1, 9, 0, 0.41)

pmoshv = lib.new_cell('pmosHV')
A(pmoshv, Activ, 0, 0, 0.3, 0.3, 5, 1, 0.78, 0)
R(pmoshv, Activ, [(-1.19,-0.89,-0.89,10.89), (4.31,-0.89,4.61,10.89), (0,0,3.42,10), (-1.19,10.89,4.61,11.19)])
P(pmoshv, Activ, [(-1.19,-1.19),(-1.19,10.89),(-0.89,10.89),(-0.89,-0.89),(4.31,-0.89),(4.31,10.89),(-1.19,10.89),(-1.19,11.19),(4.61,11.19),(4.61,-1.19)])
A(pmoshv, GatPoly, 0.34, -0.18, 0.4, 10.36, 4, 1, 0.78, 0)
R(pmoshv, GatPoly_2, [(0.34,-0.18,0.74,10.18)])
A(pmoshv, Cont, -1.12, -1.12, 0.16, 0.16, 8, 2, 0.34, 12.08)
A(pmoshv, Cont, 1.66, -1.12, 0.16, 0.16, 9, 2, 0.34, 12.08)
A(pmoshv, Cont, -1.12, -0.78, 0.16, 0.16, 1, 17, 0, 0.34)
A(pmoshv, Cont, 4.38, -0.78, 0.16, 0.16, 1, 17, 0, 0.34)
A(pmoshv, Cont, 0.07, 0.07, 0.16, 0.16, 5, 4, 0.78, 0.345)
A(pmoshv, Cont, 0.07, 1.455, 0.16, 0.16, 5, 3, 0.78, 0.345)
A(pmoshv, Cont, 0.07, 2.495, 0.16, 0.16, 5, 4, 0.78, 0.345)
A(pmoshv, Cont, 0.07, 3.88, 0.16, 0.16, 5, 3, 0.78, 0.345)
A(pmoshv, Cont, 0.07, 4.92, 0.16, 0.16, 5, 4, 0.78, 0.345)
A(pmoshv, Cont, -1.12, 5.18, 0.16, 0.16, 1, 17, 0, 0.34)
A(pmoshv, Cont, 4.38, 5.18, 0.16, 0.16, 1, 17, 0, 0.34)
A(pmoshv, Cont, 0.07, 6.305, 0.16, 0.16, 5, 3, 0.78, 0.345)
A(pmoshv, Cont, 0.07, 7.345, 0.16, 0.16, 5, 4, 0.78, 0.345)
A(pmoshv, Cont, 0.07, 8.73, 0.16, 0.16, 5, 3, 0.78, 0.345)
A(pmoshv, Cont, 0.07, 9.77, 0.16, 0.16, 5, 1, 0.78, 0)
A(pmoshv, Metal1, 0.07, 0, 0.16, 10, 5, 1, 0.78, 0)
R(pmoshv, Metal1, [(-1.19,-1.19,4.61,-0.89), (-1.19,-0.89,-0.89,10.89), (4.31,-0.89,4.61,10.89), (-1.19,10.89,4.61,11.19)])
R(pmoshv, Metal1_pin, [(0.07,0,0.23,10), (0.85,0,1.01,10)])
R(pmoshv, pSD, [(-0.18,-0.4,3.6,10.4)])
R(pmoshv, NWell, [(-1.43,-1.43,4.85,11.43), (-0.62,-0.62,4.04,10.62)])
R(pmoshv, Substrate, [(3.12,0,3.42,0.3)])
R(pmoshv, ThickGateOx, [(-0.62,-0.62,4.04,10.62)])
A(pmoshv, HeatTrans, 0.34, -0.18, 0.4, 10.36, 4, 1, 0.78, 0)
pmoshv.add(gdstk.Label('pmosHV', (0.54,5), layer=63, texttype=0))
pmoshv.add(gdstk.Label('well', (1.71,-1.04), layer=63, texttype=0))
pmoshv.add(gdstk.Label('pmos', (0.54,5), layer=51, texttype=0))
pmoshv.add(gdstk.Label('pmos', (1.32,5), layer=51, texttype=0))
pmoshv.add(gdstk.Label('pmos', (2.1,5), layer=51, texttype=0))
pmoshv.add(gdstk.Label('pmos', (2.88,5), layer=51, texttype=0))

hv_inverter_40u = lib.new_cell('hv_inverter_40u')
A(hv_inverter_40u, Metal1, -1.74, -4.58, 0.16, 0.2, 3, 1, 1.66, 0)
A(hv_inverter_40u, Metal1, -1.64, 11.38, 0.16, 0.2, 3, 1, 1.56, 0)
R(hv_inverter_40u, Metal1, [(-2.35,-5.17,2.35,-4.58), (-2.6,11.58,2.6,12.27)])
R(hv_inverter_40u, Metal1_pin, [(-2.65,-5.47,-2.25,-5.07), (-2.9,12.17,-2.5,12.57)])
R(hv_inverter_40u, Metal2, [(-1.785,-1.195,1.785,1.195)])
R(hv_inverter_40u, Metal2_pin, [(-1.785,-0.2,-1.385,0.2)])
R(hv_inverter_40u, Metal3, [(-0.93,-1.195,0.93,1.195)])
R(hv_inverter_40u, Metal3_pin, [(0.53,-0.2,0.93,0.2)])
hv_inverter_40u.add(gdstk.FlexPath([(-0.83,-1.505),(-0.83,0),(-0.78,0),(-0.78,1.52)], 0.2, ends="flush", simple_path=True, layer=30, datatype=0))  # Metal3
hv_inverter_40u.add(gdstk.FlexPath([(0.83,-1.505),(0.83,0),(0.78,0),(0.78,1.52)], 0.2, ends="flush", simple_path=True, layer=30, datatype=0))  # Metal3
hv_inverter_40u.add(gdstk.Reference(via_stack_2, (-0.83,-2.88)))
hv_inverter_40u.add(gdstk.Reference(nmoshv, (-1.81,-4.38)))
hv_inverter_40u.add(gdstk.Reference(via_stack_2, (0.83,-2.88)))
hv_inverter_40u.add(gdstk.Reference(via_stack_6, (0.78,6.38), rotation=pi))
hv_inverter_40u.add(gdstk.Reference(via_stack_6, (-0.78,6.38), rotation=pi))
hv_inverter_40u.add(gdstk.Reference(via_stack, (0,-1.095), rotation=pi/2))
hv_inverter_40u.add(gdstk.Reference(via_stack, (0,1.095), rotation=pi/2))
hv_inverter_40u.add(gdstk.Reference(pmoshv, (-1.71,1.38)))
hv_inverter_40u.add(gdstk.Label('in', (-1.585,0), layer=10, texttype=25))
hv_inverter_40u.add(gdstk.Label('VSS', (-2.45,-5.27), layer=8, texttype=25))
hv_inverter_40u.add(gdstk.Label('VDD', (-2.7,12.37), layer=8, texttype=25))
hv_inverter_40u.add(gdstk.Label('out', (0.73,0), layer=30, texttype=25))

via_stack_16 = lib.new_cell('via_stack$16')
R(via_stack_16, Metal1, [(-0.31,-1.17,0.31,1.17)])
R(via_stack_16, Metal2, [(-0.305,-1.17,0.305,1.17)])
A(via_stack_16, Via1, -0.3, -1.12, 0.19, 0.19, 1, 6, 0, 0.41)
A(via_stack_16, Via1, 0.11, -1.12, 0.19, 0.19, 1, 6, 0, 0.41)

via_stack_17 = lib.new_cell('via_stack$17')
R(via_stack_17, Metal1, [(-1.17,-0.31,1.17,0.31)])
R(via_stack_17, Metal2, [(-1.17,-0.305,1.17,0.305)])
A(via_stack_17, Via1, -1.12, -0.3, 0.19, 0.19, 6, 2, 0.41, 0.41)

via_stack_18 = lib.new_cell('via_stack$18')
R(via_stack_18, Metal1, [(-2.4,-0.105,2.4,0.105)])
R(via_stack_18, Metal2, [(-2.4,-0.1,2.4,0.1)])
A(via_stack_18, Via1, -2.35, -0.095, 0.19, 0.19, 12, 1, 0.41, 0)

via_stack_19 = lib.new_cell('via_stack$19')
R(via_stack_19, Metal1, [(-0.145,-0.105,0.145,0.105)])
R(via_stack_19, Metal2, [(-0.145,-0.1,0.145,0.1)])
R(via_stack_19, Via1, [(-0.095,-0.095,0.095,0.095)])

analog_switch_3pst = lib.new_cell('analog_switch_3pst')
R(analog_switch_3pst, Metal1, [(-0.24,0.03,0.59,4.21), (0.11,12.69,0.24,16.07), (-7.52,15.45,-7.425,15.77), (-0.24,19.63,0.59,22.69), (0.01,28.17,0.24,35.55)])
R(analog_switch_3pst, Metal1_pin, [(-5.085,2.53,-4.685,2.93), (-5.79,35.15,-5.39,35.55)])
R(analog_switch_3pst, Metal2_pin, [(1.48,4.33,1.88,4.73), (-1.42,12.295,-1.02,12.695), (1.48,19.11,1.88,19.51), (1.48,27.81,1.88,28.21)])
R(analog_switch_3pst, Metal3_pin, [(2.31,4.33,2.71,4.73), (2.31,19.11,2.71,19.51), (2.31,27.81,2.71,28.21)])
analog_switch_3pst.add(gdstk.FlexPath([(-6.38,14.65),(-4.475,14.65),(-4.475,21.785)], 0.4, ends="flush", simple_path=True, layer=10, datatype=0))  # Metal2
analog_switch_3pst.add(gdstk.FlexPath([(1.94,24.21),(1.94,23.11)], 0.4, ends="flush", simple_path=True, layer=10, datatype=0))  # Metal2
analog_switch_3pst.add(gdstk.FlexPath([(-1.105,23.66),(1.74,23.66)], 0.4, ends="flush", simple_path=True, layer=10, datatype=0))  # Metal2
analog_switch_3pst.add(gdstk.FlexPath([(1.94,12.575),(1.94,11.265)], 0.4, ends="flush", simple_path=True, layer=10, datatype=0))  # Metal2
analog_switch_3pst.add(gdstk.FlexPath([(1.74,11.92),(-0.58,11.92),(-0.58,18.925),(-1.96,18.925)], 0.4, ends="flush", simple_path=True, layer=10, datatype=0))  # Metal2
analog_switch_3pst.add(gdstk.FlexPath([(-2.01,34.22),(-2.01,34.745),(1.74,34.745)], 0.4, ends="flush", simple_path=True, layer=10, datatype=0))  # Metal2
analog_switch_3pst.add(gdstk.FlexPath([(-6.405,3.655),(-6.405,0.73),(1.74,0.73)], 0.4, ends="flush", simple_path=True, layer=10, datatype=0))  # Metal2
analog_switch_3pst.add(gdstk.FlexPath([(-3.57,12.21),(-3.57,17.515)], 0.61, ends="flush", simple_path=True, layer=10, datatype=0))  # Metal2
analog_switch_3pst.add(gdstk.FlexPath([(-5.435,27.98),(-5.435,16.065)], 0.61, ends="flush", simple_path=True, layer=10, datatype=0))  # Metal2
analog_switch_3pst.add(gdstk.Reference(transmission_gate, (0,0)))
analog_switch_3pst.add(gdstk.Reference(transmission_gate, (0,23.84), x_reflection=True))
analog_switch_3pst.add(gdstk.Reference(transmission_gate, (0,23.48)))
analog_switch_3pst.add(gdstk.Reference(lvl_shift_up, (-6.09,7), rotation=pi, x_reflection=True))
analog_switch_3pst.add(gdstk.Reference(hv_inverter_40u, (-2.89,22.98)))
analog_switch_3pst.add(gdstk.Reference(via_stack_16, (-2.705,17.82), rotation=pi/2))
analog_switch_3pst.add(gdstk.Reference(via_stack_17, (-3.57,11.04), rotation=pi/2))
analog_switch_3pst.add(gdstk.Reference(via_stack_18, (-5.64,25.575), rotation=pi/2))
analog_switch_3pst.add(gdstk.Reference(via_stack_19, (-5.23,23.32), rotation=pi/2))
analog_switch_3pst.add(gdstk.Reference(via_stack_16, (-6.3,15.76), rotation=pi/2))
analog_switch_3pst.add(gdstk.Label('ctrl', (-1.22,12.495), layer=10, texttype=25))
analog_switch_3pst.add(gdstk.Label('sw1_p1', (1.68,28.01), layer=10, texttype=25))
analog_switch_3pst.add(gdstk.Label('sw2_p1', (1.68,19.31), layer=10, texttype=25))
analog_switch_3pst.add(gdstk.Label('sw3_p1', (1.68,4.53), layer=10, texttype=25))
analog_switch_3pst.add(gdstk.Label('VAPWR', (-5.59,35.35), layer=8, texttype=25))
analog_switch_3pst.add(gdstk.Label('VGND', (-4.885,2.73), layer=8, texttype=25))
analog_switch_3pst.add(gdstk.Label('sw1_p2', (2.51,28.01), layer=30, texttype=25))
analog_switch_3pst.add(gdstk.Label('sw2_p2', (2.51,19.31), layer=30, texttype=25))
analog_switch_3pst.add(gdstk.Label('sw3_p2', (2.51,4.53), layer=30, texttype=25))

lib.write_gds('analog_switch_3pst.gds')
